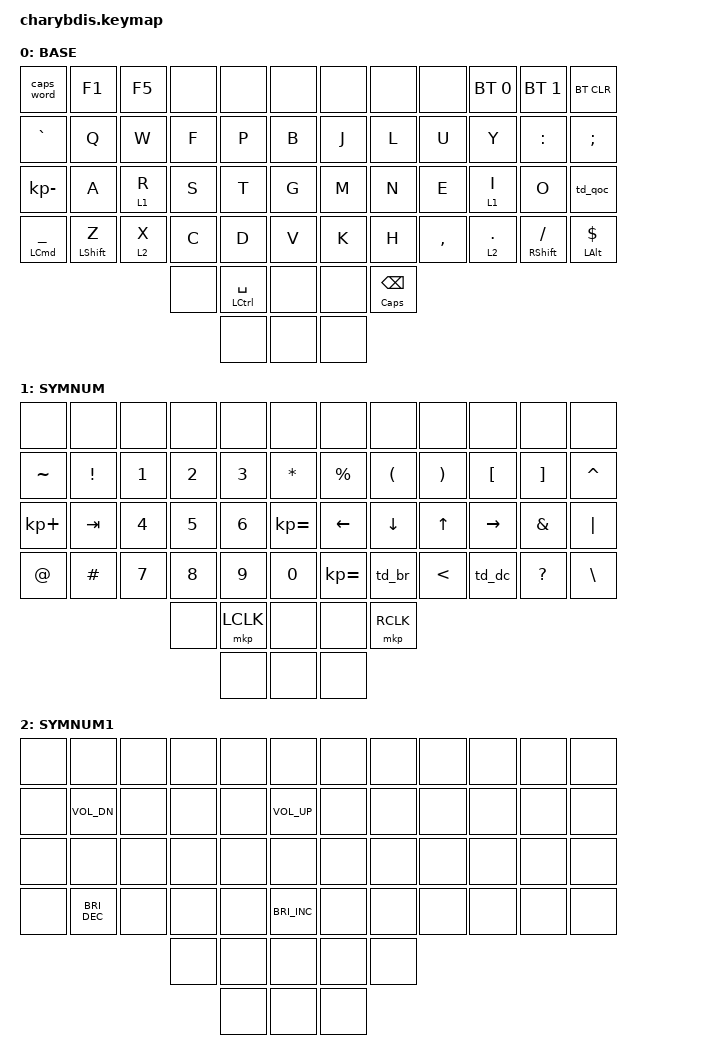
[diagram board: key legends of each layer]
#include <dt-bindings/zmk/mouse.h>
#include "keys_uk.h"
#include <behaviors.dtsi>
#include <dt-bindings/zmk/bt.h>
#include <dt-bindings/zmk/keys.h>

/ {
    combos {
        compatible = "zmk,combos";

        spotlight {
            bindings = <&kp LG(SPACE)>;
            key-positions = <17 18>;
        };

        en {
            bindings = <&kp LS(LA(LC(Z)))>;
            key-positions = <28 29>;
        };

        uk {
            bindings = <&kp LS(LA(LC(X)))>;
            key-positions = <40 41>;
        };

        enter {
            bindings = <&kp ENTER>;
            key-positions = <49 52>;
        };

        enter2 {
            bindings = <&kp ENTER>;
            key-positions = <43 44>;
        };
    };

    behaviors {
        td_sl: tap_dance_slash_backslash {
            compatible = "zmk,behavior-tap-dance";
            #binding-cells = <0>;
            tapping-term-ms = <200>;
            bindings = <&kp SLASH>, <&kp BACKSLASH>, <&kp PIPE>;
        };

        td_sc: tap_dance_semicolon_colon {
            compatible = "zmk,behavior-tap-dance";
            #binding-cells = <0>;
            tapping-term-ms = <200>;
            bindings = <&kp SEMICOLON>, <&kp COLON>;
        };

        td_br: tap_dance_braces {
            compatible = "zmk,behavior-tap-dance";
            #binding-cells = <0>;
            tapping-term-ms = <200>;
            bindings = <&kp LEFT_BRACE>, <&kp RIGHT_BRACE>;
        };

        td_dc: tap_dance_dot_comma_for_uk {
            compatible = "zmk,behavior-tap-dance";
            #binding-cells = <0>;
            tapping-term-ms = <200>;
            bindings = <&kp LS(LA(LC(F1)))>, <&kp LS(LA(LC(F2)))>;
        };

        td_qoc: tap_dance_qoutes {
            compatible = "zmk,behavior-tap-dance";
            #binding-cells = <0>;
            tapping-term-ms = <200>;
            bindings = <&kp SINGLE_QUOTE>, <&kp DOUBLE_QUOTES>;
        };

        htd: htd_kp_column_semicolumn {
            compatible = "zmk,behavior-hold-tap";
            #binding-cells = <2>;
            flavor = "tap-preferred";
            tapping-term-ms = <200>;
            quick-tap-ms = <200>;
            bindings = <&kp>, <&td_qoc>;

            // hold-trigger-key-positions = <KB_THUMBS KB_RIGHT>;
            // retro-tap;
        };
    };

    keymap {
        compatible = "zmk,keymap";

        BASE {
            bindings = <
//    ┌───────────┬───────────┬────────┬─────┬─────────────┬─────┐   ┌─────┬──────────────┬─────┬──────────┬───────────┬───────────┐
//    │   capsw   │    f1     │   f5   │     │             │     │   │     │              │     │ bt_sel 0 │ bt_sel 1  │  bt_clr   │
//    ├───────────┼───────────┼────────┼─────┼─────────────┼─────┤   ├─────┼──────────────┼─────┼──────────┼───────────┼───────────┤
//    │     `     │     Q     │   W    │  F  │      P      │  B  │   │  J  │      L       │  U  │    Y     │     :     │     ;     │
//    ├───────────┼───────────┼────────┼─────┼─────────────┼─────┤   ├─────┼──────────────┼─────┼──────────┼───────────┼───────────┤
//    │   kp_-    │     A     │ lt 1 R │  S  │      T      │  G  │   │  M  │      N       │  E  │  lt 1 I  │     O     │  &td_qoc  │
//    ├───────────┼───────────┼────────┼─────┼─────────────┼─────┤   ├─────┼──────────────┼─────┼──────────┼───────────┼───────────┤
//    │ mt lgui _ │ mt lsft Z │ lt 2 X │  C  │      D      │  V  │   │  K  │      H       │  ,  │  lt 2 .  │ mt rsft / │ mt lalt $ │
//    └───────────┴───────────┴────────┼─────┼─────────────┼─────┤   ├─────┼──────────────┼─────┴──────────┴───────────┴───────────┘
//                                     │     │ mt lctl spc │     │   │     │ mt caps bspc │
//                                     └─────┼─────────────┼─────┤   ├─────┼──────────────┘
//                                           │             │     │   │     │
//                                           └─────────────┴─────┘   └─────┘
  &caps_word                    &kp F1             &kp F5    &none   &none             &none       &none   &none           &none       &bt BT_SEL 0   &bt BT_SEL 1            &bt BT_CLR
  &kp GRAVE                     &kp Q              &kp W     &kp F   &kp P             &kp B       &kp J   &kp L           &kp U       &kp Y          &kp COLON               &kp SEMICOLON
  &kp KP_MINUS                  &kp A              &lt 1 R   &kp S   &kp T             &kp G       &kp M   &kp N           &kp E       &lt 1 I        &kp O                   &td_qoc
  &mt LEFT_COMMAND UNDERSCORE   &mt LEFT_SHIFT Z   &lt 2 X   &kp C   &kp D             &kp V       &kp K   &kp H           &kp COMMA   &lt 2 DOT      &mt RIGHT_SHIFT SLASH   &mt LEFT_ALT DOLLAR
                                                             &none   &mt LCTRL SPACE   &none       &none   &mt CAPS BSPC
                                                                     &none             &none       &none
            >;
        };

        SYMNUM {
            bindings = <
//    ┌──────┬─────┬─────┬─────┬──────┬──────┐   ┌──────┬────────┬─────┬────────┬─────┬─────┐
//    │      │     │     │     │      │      │   │      │        │     │        │     │     │
//    ├──────┼─────┼─────┼─────┼──────┼──────┤   ├──────┼────────┼─────┼────────┼─────┼─────┤
//    │  ~   │  !  │  1  │  2  │  3   │  *   │   │  %   │   (    │  )  │   [    │  ]  │  ^  │
//    ├──────┼─────┼─────┼─────┼──────┼──────┤   ├──────┼────────┼─────┼────────┼─────┼─────┤
//    │ kp_+ │ tab │  4  │  5  │  6   │ kp_= │   │ left │  down  │ up  │  rght  │  &  │  |  │
//    ├──────┼─────┼─────┼─────┼──────┼──────┤   ├──────┼────────┼─────┼────────┼─────┼─────┤
//    │  @   │  #  │  7  │  8  │  9   │  0   │   │ kp_= │ &td_br │  <  │ &td_dc │  ?  │  \  │
//    └──────┴─────┴─────┼─────┼──────┼──────┤   ├──────┼────────┼─────┴────────┴─────┴─────┘
//                       │     │ lclk │      │   │      │  rclk  │
//                       └─────┼──────┼──────┤   ├──────┼────────┘
//                             │      │      │   │      │
//                             └──────┴──────┘   └──────┘
  &none         &none             &none          &none          &none          &none              &none            &none                  &none                   &none              &none               &none
  &kp TILDE     &kp EXCLAMATION   &kp NUMBER_1   &kp NUMBER_2   &kp NUMBER_3   &kp ASTRK          &kp PERCENT      &kp LEFT_PARENTHESIS   &kp RIGHT_PARENTHESIS   &kp LEFT_BRACKET   &kp RIGHT_BRACKET   &kp CARET
  &kp KP_PLUS   &kp TAB           &kp NUMBER_4   &kp NUMBER_5   &kp NUMBER_6   &kp KP_EQUAL       &kp LEFT_ARROW   &kp DOWN_ARROW         &kp UP_ARROW            &kp RIGHT_ARROW    &kp AMPS            &kp PIPE
  &kp AT        &kp HASH          &kp NUMBER_7   &kp NUMBER_8   &kp NUMBER_9   &kp N0             &kp KP_EQUAL     &td_br                 &kp LESS_THAN           &td_dc             &kp QUESTION        &kp BACKSLASH
                                                 &none          &mkp LCLK      &none              &none            &mkp RCLK
                                                                &none          &none              &none
            >;
        };

        SYMNUM1 {
            bindings = <
//    ┌─────┬──────┬─────┬─────┬─────┬──────┐   ┌─────┬─────┬─────┬─────┬─────┬─────┐
//    │     │      │     │     │     │      │   │     │     │     │     │     │     │
//    ├─────┼──────┼─────┼─────┼─────┼──────┤   ├─────┼─────┼─────┼─────┼─────┼─────┤
//    │     │ vold │     │     │     │ volu │   │     │     │     │     │     │     │
//    ├─────┼──────┼─────┼─────┼─────┼──────┤   ├─────┼─────┼─────┼─────┼─────┼─────┤
//    │     │      │     │     │     │      │   │     │     │     │     │     │     │
//    ├─────┼──────┼─────┼─────┼─────┼──────┤   ├─────┼─────┼─────┼─────┼─────┼─────┤
//    │     │ bri- │     │     │     │ bri+ │   │     │     │     │     │     │     │
//    └─────┴──────┴─────┼─────┼─────┼──────┤   ├─────┼─────┼─────┴─────┴─────┴─────┘
//                       │     │     │      │   │     │     │
//                       └─────┼─────┼──────┤   ├─────┼─────┘
//                             │     │      │   │     │
//                             └─────┴──────┘   └─────┘
  &none   &none                  &none   &none   &none   &none                      &none   &none   &none   &none   &none   &none
  &none   &kp C_VOL_DN           &none   &none   &none   &kp C_VOLUME_UP            &none   &none   &none   &none   &none   &none
  &none   &none                  &none   &none   &none   &none                      &none   &none   &none   &none   &none   &none
  &none   &kp C_BRIGHTNESS_DEC   &none   &none   &none   &kp C_BRIGHTNESS_INC       &none   &none   &none   &none   &none   &none
                                         &none   &none   &none                      &none   &none
                                                 &none   &none                      &none
            >;
        };
    };
};
